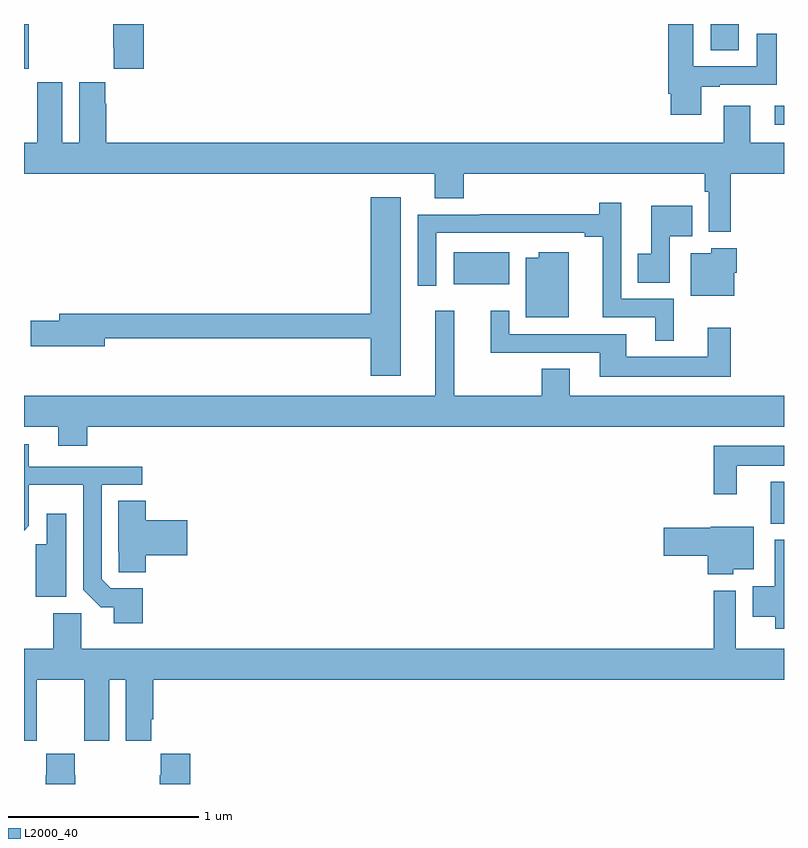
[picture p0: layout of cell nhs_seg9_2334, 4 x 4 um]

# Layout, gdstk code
import gdstk
lib = gdstk.Library(unit=1e-6, precision=1e-09)
def R(c, l, rs):  # rectangles x0, y0, x1, y1
    for r in rs: c.add(gdstk.rectangle(r[:2], r[2:], *l))
def P(c, l, *ps):  # polygons
    for p in ps: c.add(gdstk.Polygon(p, *l))
L2000_40 = (2000, 40)

nhs_seg9_2334 = lib.new_cell('nhs_seg9_2334')
R(nhs_seg9_2334, L2000_40, [(246.929,1235.871,247,1236.091), (245.261,1237.13,245.554,1237.3), (246.951,1237.97,247,1238.071), (243,1238.265,243.024,1238.5), (246.614,1238.362,246.763,1238.5)])
P(nhs_seg9_2334, L2000_40, [(243.629,1238.5),(243.469,1238.5),(243.469,1238.377),(243.473,1238.377),(243.473,1238.265),(243.629,1238.265)],
  [(246.565,1238.169),(246.661,1238.169),(246.661,1238.181),(246.961,1238.181),(246.961,1238.449),(246.857,1238.449),(246.857,1238.277),(246.523,1238.277),(246.523,1238.5),(246.392,1238.5),(246.392,1238.134),(246.404,1238.134),(246.404,1238.022),(246.565,1238.022)],
  [(246.719,1237.712),(247,1237.712),(247,1237.876),(246.823,1237.876),(246.823,1238.071),(246.683,1238.071),(246.683,1237.876),(243.434,1237.876),(243.434,1238.081),(243.427,1238.081),(243.427,1238.194),(243.29,1238.194),(243.29,1237.876),(243.202,1237.876),(243.202,1238.194),(243.071,1238.194),(243.071,1237.876),(243,1237.876),(243,1237.712),(245.162,1237.712),(245.162,1237.582),(245.315,1237.582),(245.315,1237.712),(246.583,1237.712),(246.583,1237.616),(246.603,1237.616),(246.603,1237.406),(246.719,1237.406)],
  [(244.984,1237.588),(244.826,1237.588),(244.826,1236.974),(243.185,1236.974),(243.185,1236.938),(243.036,1236.938),(243.036,1236.803),(243.424,1236.803),(243.424,1236.846),(244.826,1236.846),(244.826,1236.648),(244.984,1236.648)],
  [(246.421,1237.053),(246.144,1237.053),(246.144,1237.558),(246.028,1237.558),(246.028,1237.499),(245.398,1237.499),(245.398,1237.497),(245.073,1237.497),(245.073,1237.122),(245.169,1237.122),(245.169,1237.401),(245.951,1237.401),(245.951,1237.381),(246.047,1237.381),(246.047,1236.957),(246.323,1236.957),(246.323,1236.833),(246.421,1236.833)],
  [(246.399,1237.382),(246.518,1237.382),(246.518,1237.543),(246.302,1237.543),(246.302,1237.29),(246.229,1237.29),(246.229,1237.138),(246.399,1237.138)],
  [(246.739,1237.19),(246.752,1237.19),(246.752,1237.321),(246.618,1237.321),(246.618,1237.294),(246.509,1237.294),(246.509,1237.07),(246.739,1237.07)],
  [(245.866,1237.3),(245.708,1237.3),(245.708,1237.27),(245.642,1237.27),(245.642,1236.956),(245.866,1236.956)],
  [(243.332,1236.38),(247,1236.38),(247,1236.544),(245.872,1236.544),(245.872,1236.686),(245.725,1236.686),(245.725,1236.544),(245.264,1236.544),(245.264,1236.991),(245.165,1236.991),(245.165,1236.544),(243,1236.544),(243,1236.38),(243.179,1236.38),(243.179,1236.281),(243.332,1236.281)],
  [(246.721,1236.901),(246.599,1236.901),(246.599,1236.748),(246.169,1236.748),(246.169,1236.867),(245.553,1236.867),(245.553,1236.991),(245.456,1236.991),(245.456,1236.771),(246.029,1236.771),(246.029,1236.644),(246.721,1236.644)],
  [(243.626,1235.529),(243.456,1235.529),(243.408,1235.577),(243.408,1236.075),(243.622,1236.075),(243.622,1236.171),(243.025,1236.171),(243.025,1236.289),(243,1236.289),(243,1235.834),(243.024,1235.858),(243.024,1236.074),(243.312,1236.074),(243.312,1235.523),(243.405,1235.431),(243.473,1235.431),(243.473,1235.346),(243.626,1235.346)],
  [(246.751,1236.176),(247,1236.176),(247,1236.28),(246.63,1236.28),(246.63,1236.024),(246.751,1236.024)],
  [(243.641,1235.705),(243.859,1235.705),(243.859,1235.888),(243.641,1235.888),(243.641,1235.99),(243.497,1235.99),(243.497,1235.722),(243.498,1235.722),(243.498,1235.614),(243.641,1235.614)],
  [(243.223,1235.923),(243.119,1235.923),(243.119,1235.763),(243.062,1235.763),(243.062,1235.485),(243.223,1235.485)],
  [(246.732,1235.63),(246.841,1235.63),(246.841,1235.854),(246.615,1235.854),(246.615,1235.849),(246.366,1235.849),(246.366,1235.702),(246.599,1235.702),(246.599,1235.603),(246.732,1235.603)],
  [(247,1235.786),(246.95,1235.786),(246.95,1235.542),(246.836,1235.542),(246.836,1235.381),(246.953,1235.381),(246.953,1235.316),(247,1235.316)],
  [(243.066,1234.84),(243.067,1234.84),(243.067,1235.048),(243.317,1235.048),(243.317,1234.84),(243.318,1234.84),(243.318,1234.728),(243.448,1234.728),(243.448,1235.048),(243.536,1235.048),(243.536,1234.728),(243.67,1234.728),(243.67,1234.84),(243.68,1234.84),(243.68,1235.048),(247,1235.048),(247,1235.212),(246.747,1235.212),(246.747,1235.518),(246.631,1235.518),(246.631,1235.212),(243.3,1235.212),(243.3,1235.4),(243.154,1235.4),(243.154,1235.212),(243,1235.212),(243,1234.728),(243.066,1234.728)],
  [(243.875,1234.66),(243.721,1234.66),(243.721,1234.547),(243.715,1234.547),(243.715,1234.5),(243.875,1234.5)],
  [(243.27,1234.547),(243.267,1234.547),(243.267,1234.66),(243.117,1234.66),(243.117,1234.547),(243.115,1234.547),(243.115,1234.5),(243.27,1234.5)])

lib.write_gds('nhs_seg9_2334.gds')
